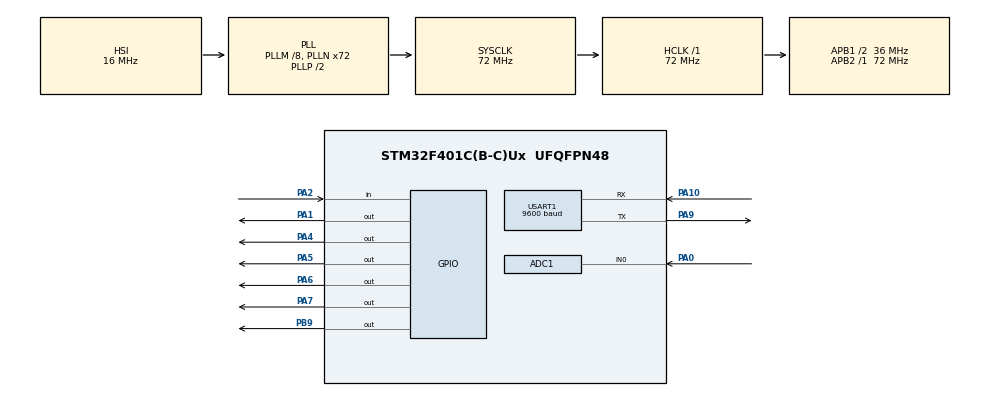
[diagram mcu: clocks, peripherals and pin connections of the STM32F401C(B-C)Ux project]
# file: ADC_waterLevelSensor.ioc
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ADC1.Channel-0\#ChannelRegularConversion=ADC_CHANNEL_0
ADC1.ContinuousConvMode=ENABLE
ADC1.DiscontinuousConvMode=DISABLE
ADC1.EOCSelection=ADC_EOC_SINGLE_CONV
ADC1.NbrOfConversion=1
ADC1.NbrOfConversionFlag=1
ADC1.Rank-0\#ChannelRegularConversion=1
ADC1.SamplingTime-0\#ChannelRegularConversion=ADC_SAMPLETIME_3CYCLES
ADC1.ScanConvMode=DISABLE
ADC1.master=1
Mcu.Family=STM32F4
Mcu.Name=STM32F401C(B-C)Ux
Mcu.Package=UFQFPN48
NVIC.ADC_IRQn=true\:0\:0\:false\:false\:true\:true\:true\:true
NVIC.PriorityGroup=NVIC_PRIORITYGROUP_4
PA0-WKUP.Signal=ADCx_IN0
PA1.Signal=GPIO_Output
PA10.Mode=Asynchronous
PA10.Signal=USART1_RX
PA13.Mode=Serial_Wire
PA13.Signal=SYS_JTMS-SWDIO
PA14.Mode=Serial_Wire
PA14.Signal=SYS_JTCK-SWCLK
PA2.Signal=GPIO_Input
PA4.Signal=GPIO_Output
PA5.Signal=GPIO_Output
PA6.Signal=GPIO_Output
PA7.Signal=GPIO_Output
PA9.Mode=Asynchronous
PA9.Signal=USART1_TX
PB9.Signal=GPIO_Output
ProjectManager.HeapSize=0x200
ProjectManager.StackSize=0x400
ProjectManager.TargetToolchain=STM32CubeIDE
RCC.48MHZClocksFreq_Value=36000000
RCC.AHBFreq_Value=72000000
RCC.APB1CLKDivider=RCC_HCLK_DIV2
RCC.APB1Freq_Value=36000000
RCC.APB1TimFreq_Value=72000000
RCC.APB2Freq_Value=72000000
RCC.APB2TimFreq_Value=72000000
RCC.CortexFreq_Value=72000000
RCC.HCLKFreq_Value=72000000
RCC.HSE_VALUE=25000000
RCC.HSI_VALUE=16000000
RCC.LSE_VALUE=32768
RCC.PLLM=8
RCC.PLLN=72
RCC.SYSCLKFreq_VALUE=72000000
RCC.SYSCLKSource=RCC_SYSCLKSOURCE_PLLCLK
RCC.VCOOutputFreq_Value=144000000
SH.ADCx_IN0.0=ADC1_IN0,IN0
TIM1.Prescaler=71
USART1.BaudRate=9600
USART1.VirtualMode=VM_ASYNC
VP_TIM1_VS_ClockSourceINT.Mode=Internal
board=custom

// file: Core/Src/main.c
/* USER CODE BEGIN Header */
/**
 ******************************************************************************
 * @file           : main.c
 * @brief          : Main program body
 ******************************************************************************
 * @attention
 *
 * Copyright (c) 2024 STMicroelectronics.
 * All rights reserved.
 *
 * This software is licensed under terms that can be found in the LICENSE file
 * in the root directory of this software component.
 * If no LICENSE file comes with this software, it is provided AS-IS.
 *
 ******************************************************************************
 */
/* USER CODE END Header */
#include "main.h"
#include "adc.h"
#include "tim.h"
#include "usart.h"
#include "gpio.h"

/* USER CODE BEGIN Includes */
#include <string.h>
#include <stdio.h>
/* USER CODE END Includes */

/* USER CODE BEGIN PV */
//TIM_HandleTypeDef htim1;

/* USER CODE END PV */

void SystemClock_Config(void);

/* USER CODE BEGIN 0 */
uint8_t flag=0;
#define DHT11_PORT GPIOB
#define DHT11_PIN GPIO_PIN_9
uint8_t RHI, RHD, TCI, TCD, SUM;
uint32_t pMillis, cMillis;
float tCelsius = 0;
float tFahrenheit = 0;
float RH = 0;

void microDelay (uint16_t delay)
{
  __HAL_TIM_SET_COUNTER(&htim1, 0);
  while (__HAL_TIM_GET_COUNTER(&htim1) < delay);
}

uint8_t DHT11_Start (void)
{
  uint8_t Response = 0;
  GPIO_InitTypeDef GPIO_InitStructPrivate = {0};
  GPIO_InitStructPrivate.Pin = DHT11_PIN;
  GPIO_InitStructPrivate.Mode = GPIO_MODE_OUTPUT_PP;
  GPIO_InitStructPrivate.Speed = GPIO_SPEED_FREQ_LOW;
  GPIO_InitStructPrivate.Pull = GPIO_NOPULL;
  HAL_GPIO_Init(DHT11_PORT, &GPIO_InitStructPrivate); // set the pin as output
  HAL_GPIO_WritePin (DHT11_PORT, DHT11_PIN, 0);   // pull the pin low
  HAL_Delay(20);   // wait for 20ms
  HAL_GPIO_WritePin (DHT11_PORT, DHT11_PIN, 1);   // pull the pin high
  microDelay (30);   // wait for 30us
  GPIO_InitStructPrivate.Mode = GPIO_MODE_INPUT;
  GPIO_InitStructPrivate.Pull = GPIO_PULLUP;
  HAL_GPIO_Init(DHT11_PORT, &GPIO_InitStructPrivate); // set the pin as input
  microDelay (40);
  if (!(HAL_GPIO_ReadPin (DHT11_PORT, DHT11_PIN)))
  {
    microDelay (80);
    if ((HAL_GPIO_ReadPin (DHT11_PORT, DHT11_PIN))) Response = 1;
  }
  pMillis = HAL_GetTick();
  cMillis = HAL_GetTick();
  while ((HAL_GPIO_ReadPin (DHT11_PORT, DHT11_PIN)) && pMillis + 2 > cMillis)
  {
    cMillis = HAL_GetTick();
  }
  return Response;
}

uint8_t DHT11_Read (void)
{
  uint8_t a,b;
  for (a=0;a<8;a++)
  {
    pMillis = HAL_GetTick();
    cMillis = HAL_GetTick();
    while (!(HAL_GPIO_ReadPin (DHT11_PORT, DHT11_PIN)) && pMillis + 2 > cMillis)
    {  // wait for the pin to go high
      cMillis = HAL_GetTick();
    }
    microDelay (40);   // wait for 40 us
    if (!(HAL_GPIO_ReadPin (DHT11_PORT, DHT11_PIN)))   // if the pin is low
      b&= ~(1<<(7-a));
    else
      b|= (1<<(7-a));
    pMillis = HAL_GetTick();
    cMillis = HAL_GetTick();
    while ((HAL_GPIO_ReadPin (DHT11_PORT, DHT11_PIN)) && pMillis + 2 > cMillis)
    {  // wait for the pin to go low
      cMillis = HAL_GetTick();
    }
  }
  return b;
}
/* USER CODE END 0 */

int main(void)
{
  /* USER CODE BEGIN 1 */
	uint32_t temp=0;
	uint8_t value=0;
	//char uartBuf[100];
	char uartData[100];
	HAL_StatusTypeDef status = HAL_ERROR;
	uint8_t uartButtonData[100];
		uint8_t button_pressed=0; //pressed=1 , not_pressed =0
  /* USER CODE END 1 */

  /* MCU Configuration--------------------------------------------------------*/

  /* Reset of all peripherals, Initializes the Flash interface and the Systick. */
  HAL_Init();

  /* Configure the system clock */
  SystemClock_Config();

  /* Initialize all configured peripherals */
  MX_GPIO_Init();
  MX_ADC1_Init();
  MX_USART1_UART_Init();
  MX_TIM1_Init();
  HAL_TIM_Base_Start(&htim1);
  /* USER CODE BEGIN 2 */
	//HAL_ADC_RegisterCallback(&hadc1, HAL_ADC_CONVERSION_COMPLETE_CB_ID, ADC_callback);

  /* USER CODE END 2 */

  /* Infinite loop */
  /* USER CODE BEGIN WHILE */
	while (1)
	{

				if(HAL_GPIO_ReadPin(GPIOA, GPIO_PIN_2) == GPIO_PIN_SET) //button pressed
				{

					button_pressed =GPIO_PIN_SET;
					 HAL_GPIO_WritePin(GPIOA, GPIO_PIN_6, 1);
				}
				else if(HAL_GPIO_ReadPin(GPIOA, GPIO_PIN_2) == GPIO_PIN_RESET) //not pressed
				{

					button_pressed =GPIO_PIN_RESET;
					HAL_GPIO_WritePin(GPIOA, GPIO_PIN_5, 1);
				}
	    if(DHT11_Start())
	    {
	      RHI = DHT11_Read(); // Relative humidity integral
	      RHD = DHT11_Read(); // Relative humidity decimal
	      TCI = DHT11_Read(); // Celsius integral
	      TCD = DHT11_Read(); // Celsius decimal
	      SUM = DHT11_Read(); // Check sum
	      if (RHI + RHD + TCI + TCD == SUM)
	      {
	        // Can use RHI and TCI for any purposes if whole number only needed
	        tCelsius = (float)TCI + (float)(TCD/10.0);
	        tFahrenheit = tCelsius * 9/5 + 32;
	        RH = (float)RHI + (float)(RHD/10.0);
	        // Can use tCelsius, tFahrenheit and RH for any purposes
	      }
	      if (TCI < 15)
	      {
	        HAL_GPIO_WritePin(GPIOA, GPIO_PIN_7, 1);
	        HAL_GPIO_WritePin(GPIOA, GPIO_PIN_4, 0);
	        HAL_GPIO_WritePin(GPIOA, GPIO_PIN_1, 0);
	      }
	      else if (TCI < 26 &&TCI>15  )
	      {
	        HAL_GPIO_WritePin(GPIOA, GPIO_PIN_7, 0);
	        HAL_GPIO_WritePin(GPIOA, GPIO_PIN_4, 1);
	        HAL_GPIO_WritePin(GPIOA, GPIO_PIN_1, 0);
	      }
	      else
	      {
	        HAL_GPIO_WritePin(GPIOA, GPIO_PIN_7, 0);
	        HAL_GPIO_WritePin(GPIOA, GPIO_PIN_4, 0);
	        HAL_GPIO_WritePin(GPIOA, GPIO_PIN_1, 1);
	      }

	      // Transmit the data

	    }
    /* USER CODE END WHILE */

    /* USER CODE BEGIN 3 */
		/*
		 //polling
		 HAL_ADC_Start(&hadc1);
		HAL_ADC_PollForConversion(&hadc1, 1000);
		temp = HAL_ADC_GetValue(&hadc1);

		value = (temp/4096.0)*100.0;
		sprintf(uartBuf, "value   = %d %%\r\n", value);

		status = HAL_UART_Transmit(&huart1, (uint8_t *)uartBuf, strlen(uartBuf), 100);	//send buffer to ttl

		temp=0;
		HAL_Delay(1000);
		*/
		//interrupt
		status = HAL_ADC_Start_IT(&hadc1);	//start adc

		while(!flag);						//wait for ISR flag to be 1

		temp = HAL_ADC_GetValue(&hadc1);	//read ADC value
		value = (temp/4096.0)*100.0;		//convert vale to percentage %

		//sprintf(uartBuf, "value   = %d %%\r\n", value);	//copy vale to uartuf array
		//status = HAL_UART_Transmit(&huart1, (uint8_t *)uartBuf, strlen(uartBuf), 100);	//send buffer to ttl
		snprintf(uartData, sizeof(uartData), "value1 = %d, value2 = %d, value3 = %d\r\n", TCI, value,button_pressed);
		status = HAL_UART_Transmit(&huart1, (uint8_t *)uartData, strlen(uartData), 100);
		flag=0;
		temp=0;
	//	HAL_Delay(500);
	}

  /* USER CODE END 3 */
}

void SystemClock_Config(void)
{
  RCC_OscInitTypeDef RCC_OscInitStruct = {0};
  RCC_ClkInitTypeDef RCC_ClkInitStruct = {0};

  /** Configure the main internal regulator output voltage
  */
  __HAL_RCC_PWR_CLK_ENABLE();
  __HAL_PWR_VOLTAGESCALING_CONFIG(PWR_REGULATOR_VOLTAGE_SCALE2);

  /** Initializes the RCC Oscillators according to the specified parameters
  * in the RCC_OscInitTypeDef structure.
  */
  RCC_OscInitStruct.OscillatorType = RCC_OSCILLATORTYPE_HSI;
  RCC_OscInitStruct.HSIState = RCC_HSI_ON;
  RCC_OscInitStruct.HSICalibrationValue = RCC_HSICALIBRATION_DEFAULT;
  RCC_OscInitStruct.PLL.PLLState = RCC_PLL_ON;
  RCC_OscInitStruct.PLL.PLLSource = RCC_PLLSOURCE_HSI;
  RCC_OscInitStruct.PLL.PLLM = 8;
  RCC_OscInitStruct.PLL.PLLN = 72;
  RCC_OscInitStruct.PLL.PLLP = RCC_PLLP_DIV2;
  RCC_OscInitStruct.PLL.PLLQ = 4;
  if (HAL_RCC_OscConfig(&RCC_OscInitStruct) != HAL_OK)
  {
    Error_Handler();
  }

  /** Initializes the CPU, AHB and APB buses clocks
  */
  RCC_ClkInitStruct.ClockType = RCC_CLOCKTYPE_HCLK|RCC_CLOCKTYPE_SYSCLK
                              |RCC_CLOCKTYPE_PCLK1|RCC_CLOCKTYPE_PCLK2;
  RCC_ClkInitStruct.SYSCLKSource = RCC_SYSCLKSOURCE_PLLCLK;
  RCC_ClkInitStruct.AHBCLKDivider = RCC_SYSCLK_DIV1;
  RCC_ClkInitStruct.APB1CLKDivider = RCC_HCLK_DIV2;
  RCC_ClkInitStruct.APB2CLKDivider = RCC_HCLK_DIV1;

  if (HAL_RCC_ClockConfig(&RCC_ClkInitStruct, FLASH_LATENCY_2) != HAL_OK)
  {
    Error_Handler();
  }
}

/* USER CODE BEGIN 4 */
void HAL_ADC_ConvCpltCallback(ADC_HandleTypeDef *hadc)
{
	flag=1;
}
void HAL_ADC_ErrorCallback(ADC_HandleTypeDef *hadc)
{
	flag=2;
}
/* USER CODE END 4 */

void Error_Handler(void)
{
	__disable_irq();
	while (1)
	{
	}
}
